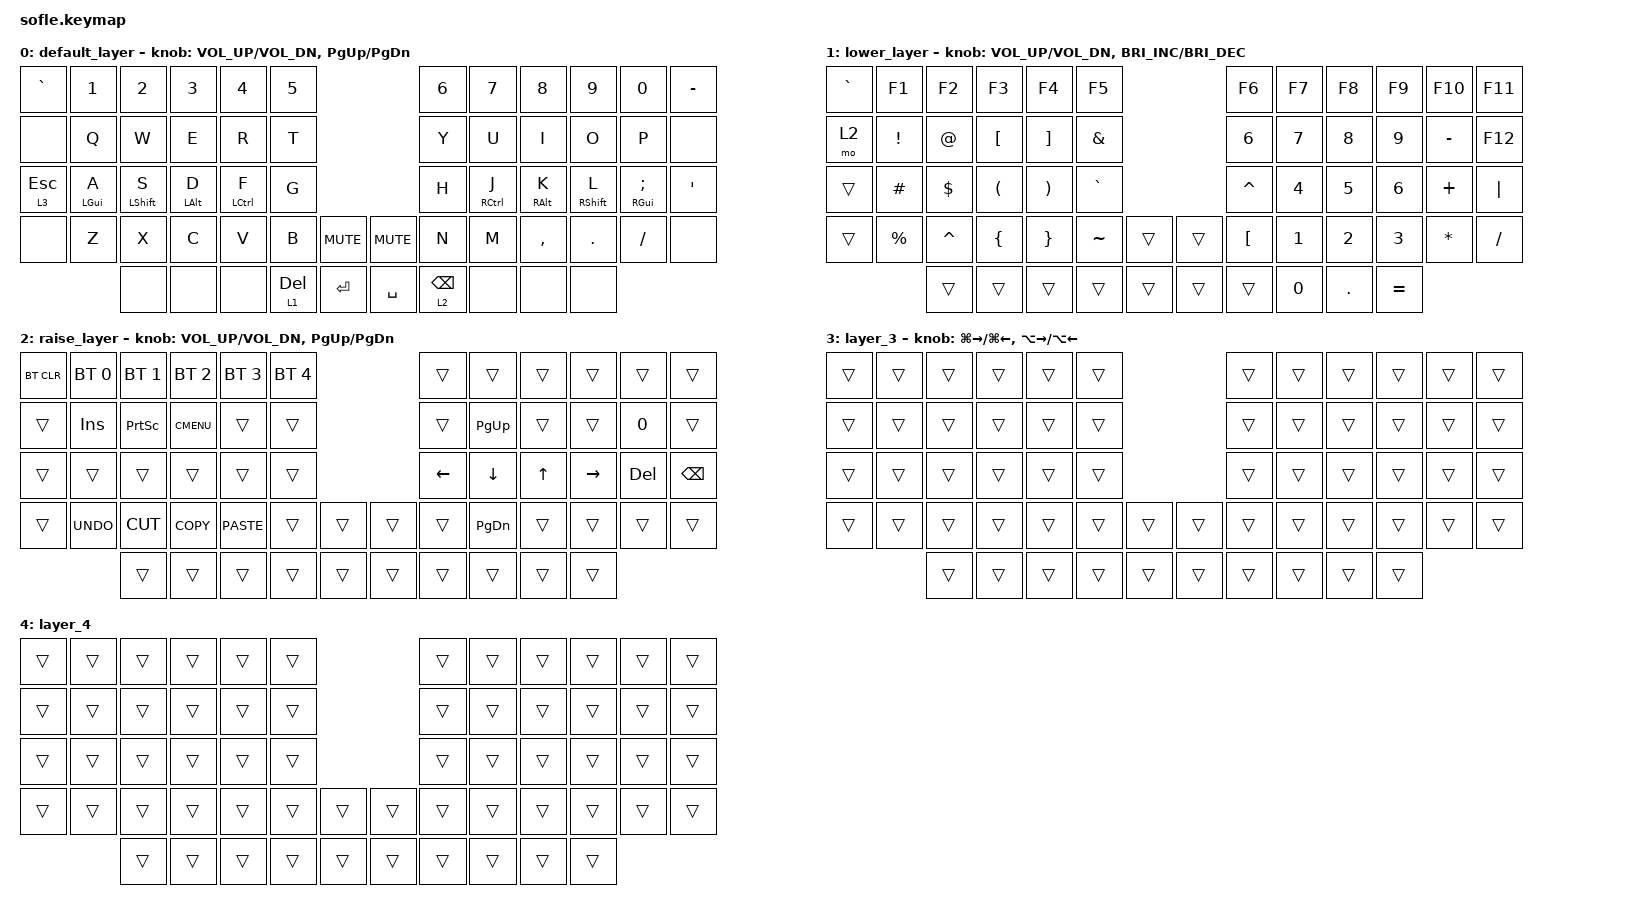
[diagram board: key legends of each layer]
/*
 * Copyright (c) 2020 The ZMK Contributors
 *
 * SPDX-License-Identifier: MIT
 */

#include <behaviors.dtsi>
#include <dt-bindings/zmk/bt.h>
#include <dt-bindings/zmk/keys.h>

&nice_view_spi { cs-gpios = <&pro_micro 0 GPIO_ACTIVE_HIGH>; };

/ {
    keymap {
        compatible = "zmk,keymap";

        default_layer {
            // ------------------------------------------------------------------------------------------------------------
            // |  `    |  1  |  2  |  3   |  4   |  5   |                   |  6   |  7    |  8    |  9   |   0   |       |
            // |  ESC  |  Q  |  W  |  E   |  R   |  T   |                   |  Y   |  U    |  I    |  O   |   P   | BKSPC |
            // |  TAB  |  A  |  S  |  D   |  F   |  G   |                   |  H   |  J    |  K    |  L   |   ;   |   '   |
            // | SHIFT |  Z  |  X  |  C   |  V   |  B   |  MUTE  |  |       |  N   |  M    |  ,    |  .   |   /   | SHIFT |
            //               | GUI | ALT  | CTRL | LOWER|  ENTER |  | SPACE | RAISE| CTRL  | ALT   | GUI  |

            bindings = <
&kp GRAVE  &kp N1      &kp N2        &kp N3      &kp N4       &kp N5                               &kp N6           &kp N7       &kp N8      &kp N9        &kp N0         &kp MINUS
&none      &kp Q       &kp W         &kp E       &kp R        &kp T                                &kp Y            &kp U        &kp I       &kp O         &kp P          &none
&lt 3 ESC  &mt LGUI A  &mt LSHIFT S  &mt LALT D  &mt LCTRL F  &kp G                                &kp H            &mt RCTRL J  &mt RALT K  &mt RSHIFT L  &mt RGUI SEMI  &kp SQT
&none      &kp Z       &kp X         &kp C       &kp V        &kp B      &kp C_MUTE    &kp C_MUTE  &kp N            &kp M        &kp COMMA   &kp DOT       &kp FSLH       &none
                       &none         &none       &none        &lt 1 DEL  &kp RET       &kp SPACE   &lt 2 BACKSPACE  &none        &none       &none
            >;

            sensor-bindings = <&inc_dec_kp C_VOL_UP C_VOL_DN &inc_dec_kp PG_UP PG_DN>;
        };

        lower_layer {
            // TODO: Some binds are waiting for shifted keycode support.
            // ------------------------------------------------------------------------------------------------------------
            // | `     |  F1 |  F2 |  F3  |  F4  |  F5  |                   |  F6  |  F7   |  F8   |  F9  |  F10  |  F11  |
            // | RAISE |   1 |   2 |   3  |   4  |   5  |                   |   6  |   7   |   8   |   9  |    0  |  F12  |
            // |       |  !  |  @  |  #   |  $   |  %   |                   |  ^   |  &    |  *    |  (   |   )   |   |   |
            // |       |  =  |  -  |  +   |  {   |  }   |        |  |       |  [   |  ]    |  ;    |  :   |   \   |       |
            //               |     |      |      |      |        |  |       |      |       |       |      |

            bindings = <
&kp GRAVE  &kp F1           &kp F2       &kp F3                &kp F4                 &kp F5                           &kp F6     &kp F7        &kp F8        &kp F9        &kp F10       &kp F11
&mo 2      &kp EXCLAMATION  &kp AT_SIGN  &kp LEFT_BRACKET      &kp RIGHT_BRACKET      &kp AMPERSAND                    &kp N6     &kp N7        &kp N8        &kp N9        &kp MINUS     &kp F12
&trans     &kp HASH         &kp DOLLAR   &kp LEFT_PARENTHESIS  &kp RIGHT_PARENTHESIS  &kp GRAVE                        &kp CARET  &kp NUMBER_4  &kp N5        &kp NUMBER_6  &kp PLUS      &kp PIPE
&trans     &kp PERCENT      &kp CARET    &kp LEFT_BRACE        &kp RIGHT_BRACE        &kp TILDE      &trans    &trans  &kp LBKT   &kp NUMBER_1  &kp NUMBER_2  &kp NUMBER_3  &kp ASTERISK  &kp SLASH
                            &trans       &trans                &trans                 &trans         &trans    &trans  &trans     &kp N0        &kp PERIOD    &kp EQUAL
            >;

            sensor-bindings =
                <&inc_dec_kp C_VOL_UP C_VOL_DN>,
                <&inc_dec_kp C_BRI_INC C_BRI_DEC>;
        };

        raise_layer {
            // ------------------------------------------------------------------------------------------------------------
            // |BTCLR| BT1  | BT2  |  BT3  |  BT4  |  BT5 |                |      |      |       |      |       |       |
            // |     | INS  | PSCR | GUI   |       |      |                | PGUP |      |       |      |       |       |
            // |     | ALT  | CTRL | SHIFT |       | CAPS |                |  <-  |   v  |   ^   |  ->  |  DEL  | BKSPC |
            // |     | UNDO | CUT  | COPY  | PASTE |      |      |  |      |      |      |       |      |       |       |
            //              |      |       |       |      |      |  |      |      |      |       |      |

            bindings = <
&bt BT_CLR  &bt BT_SEL 0  &bt BT_SEL 1  &bt BT_SEL 2  &bt BT_SEL 3  &bt BT_SEL 4                    &trans    &trans     &trans  &trans     &trans   &trans
&trans      &kp INS       &kp PSCRN     &kp K_CMENU   &trans        &trans                          &trans    &kp PG_UP  &trans  &trans     &kp N0   &trans
&trans      &trans        &trans        &trans        &trans        &trans                          &kp LEFT  &kp DOWN   &kp UP  &kp RIGHT  &kp DEL  &kp BSPC
&trans      &kp K_UNDO    &kp K_CUT     &kp K_COPY    &kp K_PASTE   &trans        &trans    &trans  &trans    &kp PG_DN  &trans  &trans     &trans   &trans
                          &trans        &trans        &trans        &trans        &trans    &trans  &trans    &trans     &trans  &trans
            >;

            sensor-bindings = <&inc_dec_kp C_VOL_UP C_VOL_DN &inc_dec_kp PG_UP PG_DN>;
        };

        layer_3 {
            bindings = <
&trans  &trans  &trans  &trans  &trans  &trans                    &trans  &trans  &trans  &trans  &trans  &trans
&trans  &trans  &trans  &trans  &trans  &trans                    &trans  &trans  &trans  &trans  &trans  &trans
&trans  &trans  &trans  &trans  &trans  &trans                    &trans  &trans  &trans  &trans  &trans  &trans
&trans  &trans  &trans  &trans  &trans  &trans  &trans    &trans  &trans  &trans  &trans  &trans  &trans  &trans
                &trans  &trans  &trans  &trans  &trans    &trans  &trans  &trans  &trans  &trans
            >;

            sensor-bindings =
                <&inc_dec_kp LG(RIGHT) LG(LEFT)>,
                <&inc_dec_kp LA(RIGHT) LA(LEFT)>;
        };

        layer_4 {
            bindings = <
&trans  &trans  &trans  &trans  &trans  &trans                    &trans  &trans  &trans  &trans  &trans  &trans
&trans  &trans  &trans  &trans  &trans  &trans                    &trans  &trans  &trans  &trans  &trans  &trans
&trans  &trans  &trans  &trans  &trans  &trans                    &trans  &trans  &trans  &trans  &trans  &trans
&trans  &trans  &trans  &trans  &trans  &trans  &trans    &trans  &trans  &trans  &trans  &trans  &trans  &trans
                &trans  &trans  &trans  &trans  &trans    &trans  &trans  &trans  &trans  &trans
            >;
        };
    };
};
